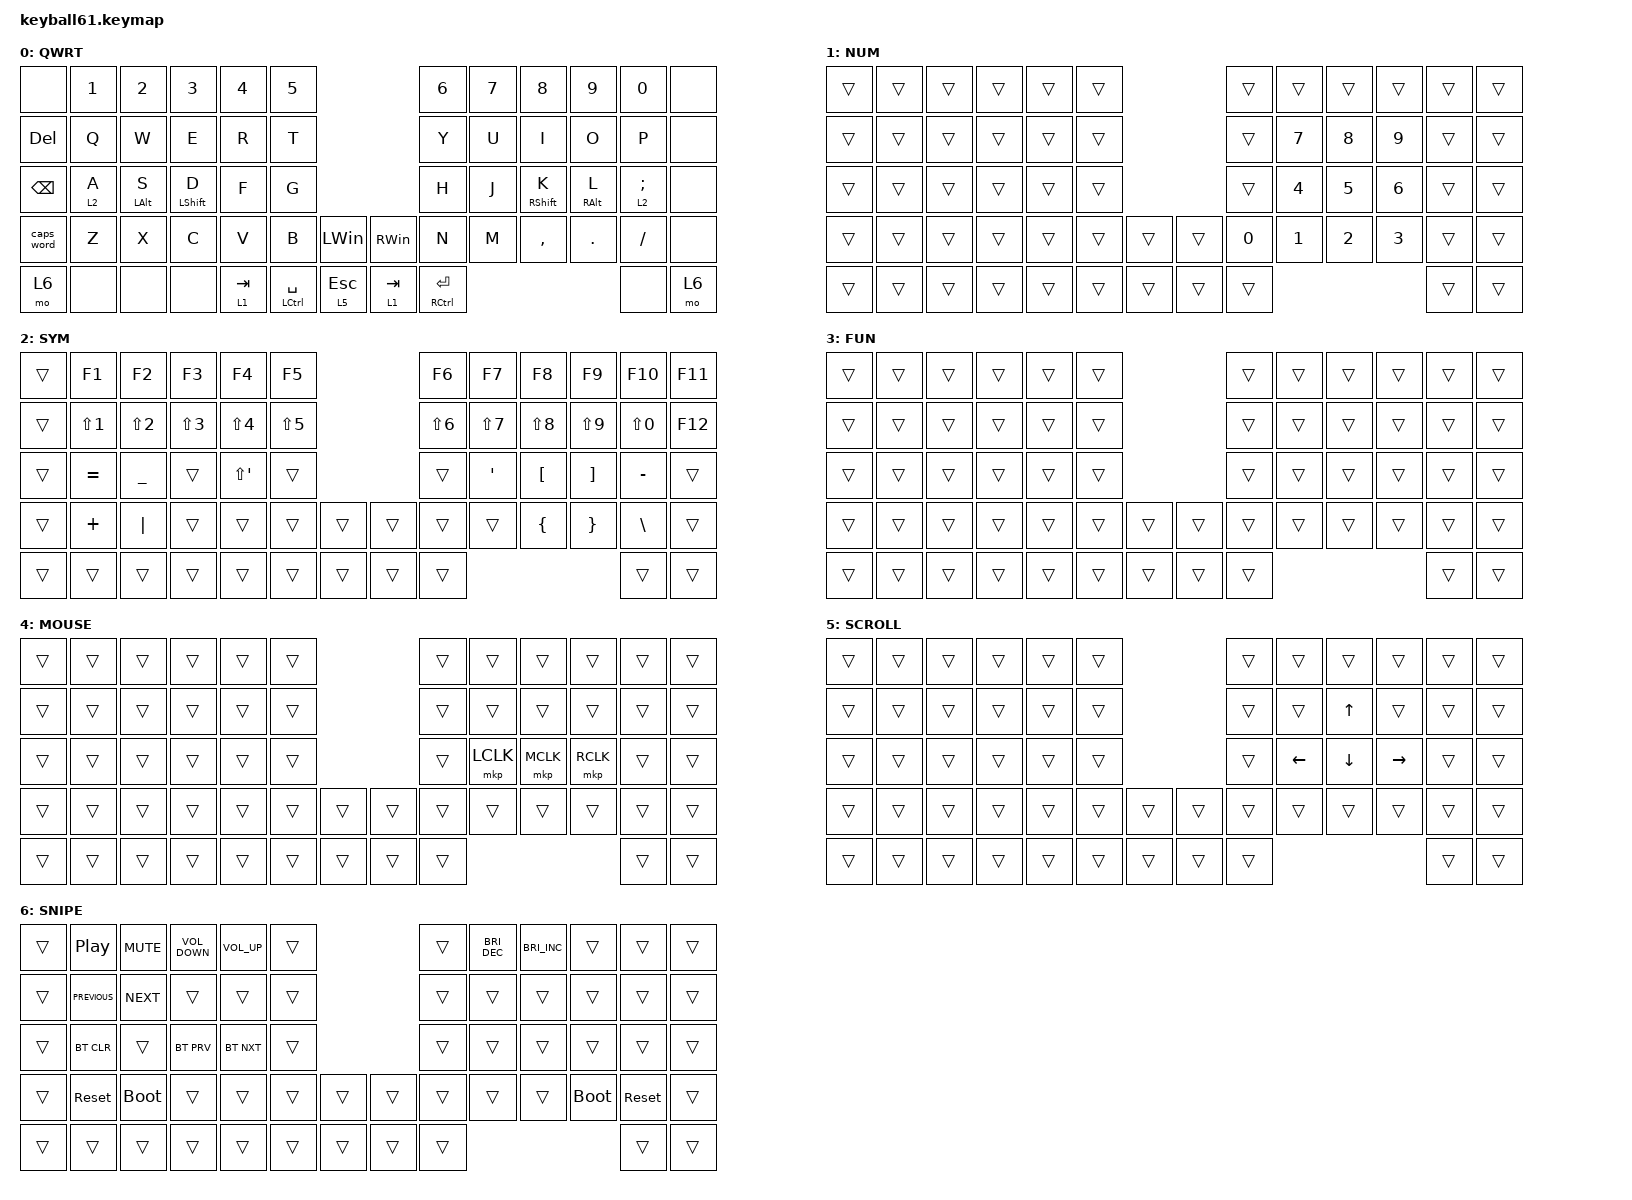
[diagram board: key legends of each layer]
/* Layer indices. These are positional: they must match the order of the layer
 * nodes inside the keymap block below, and the automouse-layer/scroll-layers/
 * snipe-layers properties in keyball61_right.overlay. Reordering or inserting
 * a layer node shifts every index after it. */
#define DEFAULT 0
#define NUM     1 // number_layer
#define SYM     2 // symbol_layer
#define FUN     3 // function_layer
#define MOUSE   4 // Auto-Mouse Layer
#define SCROLL  5 // Motion Scroll Layer
#define SNIPE   6 // Snipe Mode Layer

#include <behaviors/mouse_keys.dtsi>
#include <dt-bindings/zmk/mouse.h>
#include <behaviors.dtsi>
#include <dt-bindings/zmk/bt.h>
#include <dt-bindings/zmk/keys.h>
#include <dt-bindings/zmk/pointing.h>

&mt {
    tapping-term-ms = <250>;
    flavor = "balanced";
    quick-tap-ms = <175>;
    require-prior-idle-ms = <150>;
    hold-trigger-on-release;
};

/* Opposite-hand plain-&kp positions only: deliberately excludes SPACE, ENTER
 * (&mt), and A, SEMI (&lt), since letting one hold-tap's resolution depend on
 * another still-unresolved hold-tap is a known source of misfires. */

#define RIGHT_HAND_PLAIN_KEYS  6 7 8 9 10   18 19 20 21 22   30 31   44 45 46 47 48
#define LEFT_HAND_PLAIN_KEYS   1 2 3 4 5    13 14 15 16 17   28 29   37 38 39 40 41

/ {
    behaviors {
        /* Sticky modifier for the home row mods' hold action: applies to the next
         * keypress regardless of whether the mod key is still physically held, so
         * releasing it before pressing the target letter still capitalizes it.
         * quick-release deactivates on the next key's press rather than release,
         * so fast typing after the modified letter doesn't get double-capitalized. */

        sk_hrm: sticky_key_hrm {
            compatible = "zmk,behavior-sticky-key";
            #binding-cells = <1>;
            bindings = <&kp>;
            release-after-ms = <500>;
            quick-release;
            ignore-modifiers;
        };

        hml: home_row_mod_left {
            compatible = "zmk,behavior-hold-tap";
            #binding-cells = <2>;
            bindings = <&sk_hrm>, <&kp>;

            flavor = "balanced";
            tapping-term-ms = <250>;
            quick-tap-ms = <175>;
            hold-trigger-key-positions = <RIGHT_HAND_PLAIN_KEYS>;
            hold-trigger-on-release;
        };

        hmr: home_row_mod_right {
            compatible = "zmk,behavior-hold-tap";
            #binding-cells = <2>;
            bindings = <&sk_hrm>, <&kp>;

            flavor = "balanced";
            tapping-term-ms = <250>;
            quick-tap-ms = <175>;
            hold-trigger-key-positions = <LEFT_HAND_PLAIN_KEYS>;
            hold-trigger-on-release;
        };

        /* Positional layer-taps for A/SEMI, same reasoning as hml/hmr above: drop
         * require-prior-idle-ms (which was forcing an instant tap during fast
         * typing regardless of hold duration) in favor of resolving hold from an
         * opposite-hand keypress instead. The shared &lt below (TAB/ESCAPE thumb
         * keys) is untouched. */

        lta: layer_tap_left {
            compatible = "zmk,behavior-hold-tap";
            #binding-cells = <2>;
            bindings = <&mo>, <&kp>;

            flavor = "balanced";
            tapping-term-ms = <240>;
            quick-tap-ms = <150>;
            hold-trigger-key-positions = <RIGHT_HAND_PLAIN_KEYS>;
            hold-trigger-on-release;
        };

        ltr: layer_tap_right {
            compatible = "zmk,behavior-hold-tap";
            #binding-cells = <2>;
            bindings = <&mo>, <&kp>;

            flavor = "balanced";
            tapping-term-ms = <240>;
            quick-tap-ms = <150>;
            hold-trigger-key-positions = <LEFT_HAND_PLAIN_KEYS>;
            hold-trigger-on-release;
        };
    };
};

&lt {
    tapping-term-ms = <240>;
    flavor = "balanced";
    quick-tap-ms = <150>;
    require-prior-idle-ms = <125>;
};

/ {
    combos {
        compatible = "zmk,combos";

        double_quote {
            bindings = <&kp DOUBLE_QUOTES>;
            key-positions = <25 34>;
            require-prior-idle-ms = <150>;
        };

        back {
            bindings = <&mkp MB4>;
            key-positions = <39 40>;
            require-prior-idle-ms = <200>;
        };

        forward {
            bindings = <&mkp MB5>;
            key-positions = <45 46>;
            require-prior-idle-ms = <200>;
        };
    };

    keymap {
        compatible = "zmk,keymap";

        default_layer {
            label = "QWRT";
            bindings = <
&none          &kp N1    &kp N2           &kp N3             &kp N4     &kp N5                                        &kp N6                   &kp N7  &kp N8              &kp N9            &kp N0       &none
&kp DELETE     &kp Q     &kp W            &kp E              &kp R      &kp T                                         &kp Y                    &kp U   &kp I               &kp O             &kp P        &none
&kp BACKSPACE  &lta 2 A  &hml LEFT_ALT S  &hml LEFT_SHIFT D  &kp F      &kp G                                         &kp H                    &kp J   &hmr RIGHT_SHIFT K  &hmr RIGHT_ALT L  &ltr 2 SEMI  &none
&caps_word     &kp Z     &kp X            &kp C              &kp V      &kp B            &kp LEFT_WIN  &kp RIGHT_WIN  &kp N                    &kp M   &kp COMMA           &kp DOT           &kp SLASH    &none
&mo 6          &none     &none            &none              &lt 1 TAB  &mt LCTRL SPACE  &lt 5 ESCAPE  &lt 1 TAB      &mt RIGHT_CONTROL ENTER                                                &none        &mo 6
            >;
        };

        number_layer {
            bindings = <
&trans  &trans  &trans  &trans  &trans  &trans                  &trans  &trans  &trans  &trans  &trans  &trans
&trans  &trans  &trans  &trans  &trans  &trans                  &trans  &kp N7  &kp N8  &kp N9  &trans  &trans
&trans  &trans  &trans  &trans  &trans  &trans                  &trans  &kp N4  &kp N5  &kp N6  &trans  &trans
&trans  &trans  &trans  &trans  &trans  &trans  &trans  &trans  &kp N0  &kp N1  &kp N2  &kp N3  &trans  &trans
&trans  &trans  &trans  &trans  &trans  &trans  &trans  &trans  &trans                          &trans  &trans
            >;

            label = "NUM";
        };

        symbol_layer {
            label = "SYM";
            bindings = <
&trans  &kp F1      &kp F2          &kp F3      &kp F4       &kp F5                      &kp F6      &kp F7      &kp F8            &kp F9             &kp F10        &kp F11
&trans  &kp LS(N1)  &kp LS(N2)      &kp LS(N3)  &kp LS(N4)   &kp LS(N5)                  &kp LS(N6)  &kp LS(N7)  &kp LS(N8)        &kp LS(N9)         &kp LS(N0)     &kp F12
&trans  &kp EQUAL   &kp UNDERSCORE  &trans      &kp LS(SQT)  &trans                      &trans      &kp APOS    &kp LEFT_BRACKET  &kp RIGHT_BRACKET  &kp MINUS      &trans
&trans  &kp PLUS    &kp PIPE        &trans      &trans       &trans      &trans  &trans  &trans      &trans      &kp LEFT_BRACE    &kp RIGHT_BRACE    &kp BACKSLASH  &trans
&trans  &trans      &trans          &trans      &trans       &trans      &trans  &trans  &trans                                                       &trans         &trans
            >;
        };

        function_layer {
            label = "FUN";
            bindings = <
&trans  &trans  &trans  &trans  &trans  &trans                  &trans  &trans  &trans  &trans  &trans  &trans
&trans  &trans  &trans  &trans  &trans  &trans                  &trans  &trans  &trans  &trans  &trans  &trans
&trans  &trans  &trans  &trans  &trans  &trans                  &trans  &trans  &trans  &trans  &trans  &trans
&trans  &trans  &trans  &trans  &trans  &trans  &trans  &trans  &trans  &trans  &trans  &trans  &trans  &trans
&trans  &trans  &trans  &trans  &trans  &trans  &trans  &trans  &trans                          &trans  &trans
            >;
        };

        mouse_layer {
            label = "MOUSE";
            bindings = <
&trans  &trans  &trans  &trans  &trans  &trans                  &trans  &trans     &trans     &trans     &trans  &trans
&trans  &trans  &trans  &trans  &trans  &trans                  &trans  &trans     &trans     &trans     &trans  &trans
&trans  &trans  &trans  &trans  &trans  &trans                  &trans  &mkp LCLK  &mkp MCLK  &mkp RCLK  &trans  &trans
&trans  &trans  &trans  &trans  &trans  &trans  &trans  &trans  &trans  &trans     &trans     &trans     &trans  &trans
&trans  &trans  &trans  &trans  &trans  &trans  &trans  &trans  &trans                                   &trans  &trans
            >;
        };

        scroll_layer {
            label = "SCROLL";
            bindings = <
&trans  &trans  &trans  &trans  &trans  &trans                  &trans  &trans    &trans        &trans     &trans  &trans
&trans  &trans  &trans  &trans  &trans  &trans                  &trans  &trans    &kp UP_ARROW  &trans     &trans  &trans
&trans  &trans  &trans  &trans  &trans  &trans                  &trans  &kp LEFT  &kp DOWN      &kp RIGHT  &trans  &trans
&trans  &trans  &trans  &trans  &trans  &trans  &trans  &trans  &trans  &trans    &trans        &trans     &trans  &trans
&trans  &trans  &trans  &trans  &trans  &trans  &trans  &trans  &trans                                     &trans  &trans
            >;
        };

        snipe_layer {
            label = "SNIPE";
            bindings = <
&trans  &kp C_PLAY_PAUSE  &kp C_MUTE   &kp C_VOLUME_DOWN  &kp C_VOLUME_UP  &trans                  &trans  &kp C_BRIGHTNESS_DEC  &kp C_BRIGHTNESS_INC  &trans       &trans      &trans
&trans  &kp C_PREVIOUS    &kp C_NEXT   &trans             &trans           &trans                  &trans  &trans                &trans                &trans       &trans      &trans
&trans  &bt BT_CLR        &trans       &bt BT_PRV         &bt BT_NXT       &trans                  &trans  &trans                &trans                &trans       &trans      &trans
&trans  &sys_reset        &bootloader  &trans             &trans           &trans  &trans  &trans  &trans  &trans                &trans                &bootloader  &sys_reset  &trans
&trans  &trans            &trans       &trans             &trans           &trans  &trans  &trans  &trans                                                           &trans      &trans
            >;
        };
    };
};
